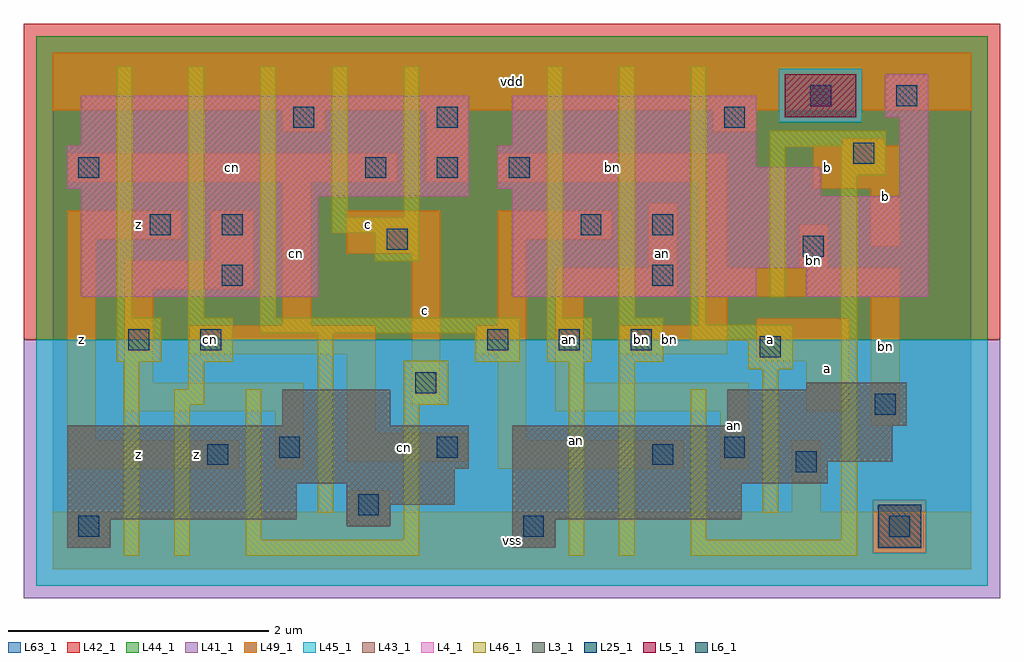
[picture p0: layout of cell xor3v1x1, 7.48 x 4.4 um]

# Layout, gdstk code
import gdstk
lib = gdstk.Library(unit=1e-6, precision=1e-09)
def R(c, l, rs):  # rectangles x0, y0, x1, y1
    for r in rs: c.add(gdstk.rectangle(r[:2], r[2:], *l))
def A(c, l, x, y, w, h, nx, ny, dx, dy):  # array of equal rectangles
    R(c, l, [(x+i*dx, y+j*dy, x+i*dx+w, y+j*dy+h) for i in range(nx) for j in range(ny)])
L3_1 = (3, 1)
L4_1 = (4, 1)
L5_1 = (5, 1)
L6_1 = (6, 1)
L25_1 = (25, 1)
L41_1 = (41, 1)
L42_1 = (42, 1)
L43_1 = (43, 1)
L44_1 = (44, 1)
L45_1 = (45, 1)
L46_1 = (46, 1)
L49_1 = (49, 1)
L63_1 = (63, 1)

xor3v1x1 = lib.new_cell('xor3v1x1')
R(xor3v1x1, L3_1, [(0.11,0.165,0.44,0.385), (3.52,0.165,3.85,0.385), (2.255,0.33,2.585,0.495), (0.11,0.385,1.87,0.66), (3.52,0.385,5.28,0.66), (2.255,0.495,3.08,0.66), (0.11,0.66,3.08,0.77), (3.52,0.66,5.94,0.825), (0.11,0.77,3.19,1.1), (3.52,0.825,6.435,1.1), (1.76,1.1,2.585,1.375), (5.17,1.1,6.545,1.375), (5.775,1.375,6.545,1.43)])
R(xor3v1x1, L4_1, [(0.22,2.09,2.035,2.86), (3.52,2.09,5.39,2.31), (5.775,2.09,6.71,2.31), (3.52,2.31,6.71,2.86), (0.22,2.86,3.19,2.915), (3.52,2.86,5.885,2.915), (6.49,2.86,6.71,3.465), (0.11,2.915,3.19,3.245), (3.41,2.915,5.885,3.08), (3.41,3.08,5.39,3.245), (0.22,3.245,3.19,3.63), (3.52,3.245,5.39,3.63), (6.38,3.465,6.71,3.795)])
R(xor3v1x1, L5_1, [(5.61,3.465,6.16,3.795)])
R(xor3v1x1, L6_1, [(6.325,0.165,6.655,0.495)])
A(xor3v1x1, L25_1, 3.33, 1.68, 0.16, 0.16, 3, 1, 0.55, 0)
A(xor3v1x1, L25_1, 2.395, 3, 0.16, 0.16, 3, 1, 0.55, 0)
R(xor3v1x1, L25_1, [(0.195,0.25,0.355,0.41), (3.605,0.25,3.765,0.41), (6.41,0.25,6.57,0.41), (2.34,0.415,2.5,0.575), (5.695,0.745,5.855,0.905), (1.185,0.8,1.345,0.96), (4.595,0.8,4.755,0.96), (1.735,0.855,1.895,1.015), (2.945,0.855,3.105,1.015), (5.145,0.855,5.305,1.015), (6.3,1.185,6.46,1.345), (2.78,1.35,2.94,1.51), (5.42,1.625,5.58,1.785), (0.58,1.68,0.74,1.84), (1.13,1.68,1.29,1.84), (1.295,2.175,1.455,2.335), (4.595,2.175,4.755,2.335), (5.75,2.395,5.91,2.555), (2.56,2.45,2.72,2.61), (0.745,2.56,0.905,2.72), (1.295,2.56,1.455,2.72), (4.045,2.56,4.205,2.72), (4.595,2.56,4.755,2.72), (0.195,3,0.355,3.16), (6.135,3.11,6.295,3.27), (1.845,3.385,2.005,3.545), (2.945,3.385,3.105,3.545), (5.145,3.385,5.305,3.545), (5.805,3.55,5.965,3.71), (6.465,3.55,6.625,3.71)])
R(xor3v1x1, L41_1, [(-0.22,-0.22,7.26,1.76)])
R(xor3v1x1, L42_1, [(-0.22,1.76,7.26,4.18)])
R(xor3v1x1, L43_1, [(0.11,0.165,0.44,0.385), (3.52,0.165,3.85,0.385), (6.325,0.165,6.655,0.495), (2.255,0.33,2.585,0.495), (0.11,0.385,1.87,0.66), (3.52,0.385,5.28,0.66), (2.255,0.495,3.08,0.66), (0.11,0.66,3.08,0.77), (3.52,0.66,5.94,0.825), (0.11,0.77,3.19,1.1), (3.52,0.825,6.435,1.1), (1.76,1.1,2.585,1.375), (5.17,1.1,6.545,1.375), (5.775,1.375,6.545,1.43), (0.22,2.09,2.035,2.86), (3.52,2.09,5.39,2.31), (5.775,2.09,6.71,2.31), (3.52,2.31,6.71,2.86), (0.22,2.86,3.19,2.915), (3.52,2.86,5.885,2.915), (6.49,2.86,6.71,3.465), (0.11,2.915,3.19,3.245), (3.41,2.915,5.885,3.08), (3.41,3.08,5.39,3.245), (0.22,3.245,3.19,3.63), (3.52,3.245,5.39,3.63), (5.61,3.465,6.16,3.795), (6.38,3.465,6.71,3.795)])
R(xor3v1x1, L44_1, [(6.285,0.125,6.695,0.535), (-0.125,1.76,7.165,3.425), (-0.125,3.425,5.57,3.835), (6.2,3.425,7.165,3.835), (-0.125,3.835,7.165,4.085)])
R(xor3v1x1, L45_1, [(-0.125,-0.125,7.165,0.125), (-0.125,0.125,6.285,0.535), (6.695,0.125,7.165,0.535), (-0.125,0.535,7.165,1.76), (5.57,3.425,6.2,3.835)])
A(xor3v1x1, L46_1, 0.49, 1.93, 0.12, 1.925, 3, 1, 0.55, 0)
R(xor3v1x1, L46_1, [(0.545,0.105,0.665,1.59), (0.93,0.105,1.05,1.26), (1.48,0.105,2.81,0.225), (3.955,0.105,4.075,1.59), (4.34,0.105,4.46,1.59), (4.89,0.105,6.165,0.225), (1.48,0.225,1.6,1.38), (2.69,0.225,2.81,1.26), (4.89,0.225,5.01,1.38), (6.045,0.225,6.165,3.02), (2.03,0.435,2.15,1.81), (5.44,0.435,5.56,1.535), (0.93,1.26,1.16,1.38), (2.69,1.26,3.03,1.6), (1.04,1.38,1.16,1.59), (5.33,1.535,5.67,1.755), (0.49,1.59,0.83,1.93), (1.04,1.59,1.38,1.93), (3.24,1.59,3.58,1.81), (3.79,1.59,4.13,1.93), (4.34,1.59,4.68,1.93), (4.89,1.755,5.67,1.875), (1.59,1.81,3.58,1.93), (4.89,1.875,5.01,3.855), (3.79,1.93,3.91,3.855), (4.34,1.93,4.46,3.855), (5.495,2.085,5.615,3.24), (2.47,2.36,2.81,2.58), (2.14,2.58,2.81,2.7), (2.14,2.7,2.26,3.855), (2.69,2.7,2.81,3.855), (6.045,3.02,6.385,3.24), (5.495,3.24,6.385,3.36)])
R(xor3v1x1, L49_1, [(0,0,7.04,0.44), (2.255,0.44,2.585,0.605), (5.665,0.44,5.885,0.99), (0.11,0.77,1.43,0.99), (1.705,0.77,1.925,1.21), (3.41,0.77,4.84,0.99), (5.115,0.77,5.335,1.21), (2.255,0.825,3.19,1.045), (0.11,0.99,0.33,2.53), (3.41,0.99,3.63,1.65), (2.255,1.045,2.475,1.65), (6.27,1.1,6.49,2.09), (0.55,1.21,1.925,1.43), (3.85,1.21,5.335,1.43), (5.775,1.21,6.105,1.595), (2.75,1.265,2.97,2.42), (0.55,1.43,0.77,2.145), (3.85,1.43,4.07,2.09), (5.39,1.595,6.105,1.925), (1.045,1.65,2.475,1.87), (3.245,1.65,3.63,1.87), (4.345,1.65,5.17,1.87), (1.76,1.87,1.98,2.97), (3.41,1.87,3.63,2.53), (4.95,1.87,5.17,2.09), (3.85,2.09,4.785,2.31), (4.95,2.09,6.49,2.31), (0.55,2.145,1.54,2.365), (4.565,2.31,4.785,2.805), (4.95,2.31,5.17,2.97), (5.72,2.31,5.94,2.64), (1.21,2.365,1.54,2.75), (2.255,2.42,2.97,2.75), (6.27,2.475,6.49,2.915), (0.11,2.53,0.99,2.75), (3.41,2.53,4.29,2.75), (5.83,2.915,6.49,3.245), (0.11,2.97,2.64,3.19), (2.86,2.97,3.19,3.52), (3.41,2.97,5.17,3.19), (6.05,3.245,6.38,3.3), (1.76,3.355,2.09,3.52), (5.06,3.355,5.39,3.52), (0,3.52,7.04,3.96)])
R(xor3v1x1, L63_1, [(0,0,7.04,3.96)])
xor3v1x1.add(gdstk.Label('cn', (1.21,1.76), layer=49, texttype=1))
xor3v1x1.add(gdstk.Label('an', (4.015,0.99), layer=46, texttype=1))
xor3v1x1.add(gdstk.Label('bn', (4.51,1.76), layer=49, texttype=1))
xor3v1x1.add(gdstk.Label('z', (0.66,0.88), layer=49, texttype=1))
xor3v1x1.add(gdstk.Label('z', (1.1,0.88), layer=49, texttype=1))
xor3v1x1.add(gdstk.Label('z', (0.22,1.76), layer=49, texttype=1))
xor3v1x1.add(gdstk.Label('z', (0.66,2.64), layer=49, texttype=1))
xor3v1x1.add(gdstk.Label('c', (2.42,2.64), layer=49, texttype=1))
xor3v1x1.add(gdstk.Label('cn', (1.375,3.08), layer=49, texttype=1))
xor3v1x1.add(gdstk.Label('cn', (1.87,2.42), layer=49, texttype=1))
xor3v1x1.add(gdstk.Label('vss', (3.52,0.22), layer=49, texttype=1))
xor3v1x1.add(gdstk.Label('cn', (2.695,0.935), layer=49, texttype=1))
xor3v1x1.add(gdstk.Label('an', (3.96,1.76), layer=49, texttype=1))
xor3v1x1.add(gdstk.Label('c', (2.86,1.98), layer=49, texttype=1))
xor3v1x1.add(gdstk.Label('vdd', (3.52,3.74), layer=49, texttype=1))
xor3v1x1.add(gdstk.Label('an', (5.225,1.1), layer=49, texttype=1))
xor3v1x1.add(gdstk.Label('a', (5.5,1.76), layer=49, texttype=1))
xor3v1x1.add(gdstk.Label('bn', (4.73,1.76), layer=49, texttype=1))
xor3v1x1.add(gdstk.Label('an', (4.675,2.42), layer=49, texttype=1))
xor3v1x1.add(gdstk.Label('bn', (4.29,3.08), layer=49, texttype=1))
xor3v1x1.add(gdstk.Label('a', (5.94,1.54), layer=49, texttype=1))
xor3v1x1.add(gdstk.Label('bn', (6.38,1.705), layer=49, texttype=1))
xor3v1x1.add(gdstk.Label('bn', (5.83,2.365), layer=49, texttype=1))
xor3v1x1.add(gdstk.Label('b', (6.38,2.86), layer=49, texttype=1))
xor3v1x1.add(gdstk.Label('b', (5.94,3.08), layer=49, texttype=1))

lib.write_gds('xor3v1x1.gds')
